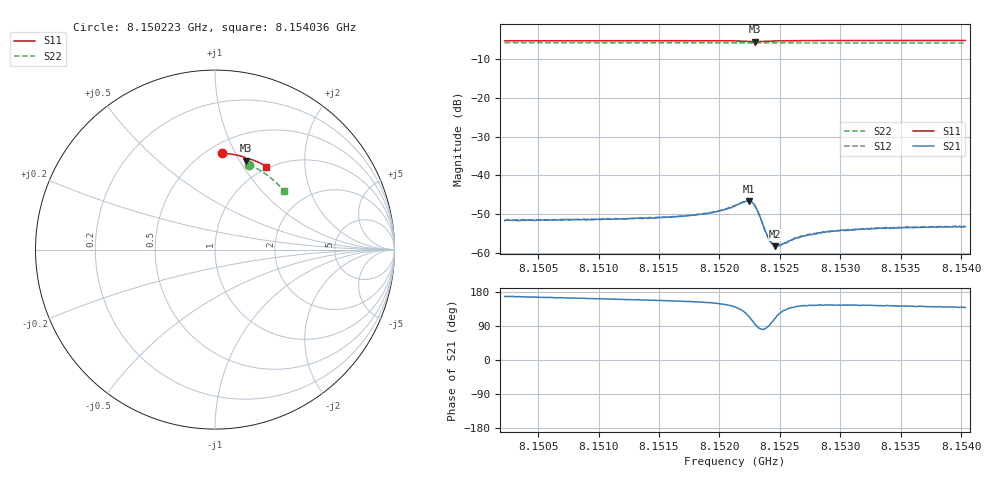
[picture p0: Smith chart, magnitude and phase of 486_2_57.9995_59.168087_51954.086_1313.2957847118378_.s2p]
#  HZ  S  RI  R  50.00
! Rohde & Schwarz Vector Network Analyzer
! Rohde-Schwarz,ZNB20-2Port,1311601062101988,3.16
! Created: UTC 3/21/2024, 1:12:04 AM
! freq[Hz]  re:S11  im:S11  re:S21  im:S21  re:S12  im:S12  re:S22  im:S22
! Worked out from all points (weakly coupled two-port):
!   401 points, 8.150223 GHz to 8.154036 GHz, reference 50 ohm
!   highest |S21| = -46.58 dB at 8.152244 GHz (marker M1); lowest = -58.2 dB at 8.152463 GHz (marker M2)
!   lowest |S11| = -5.6 dB at 8.152292 GHz (marker M3), VSWR 3.21, Z = 39 + j53.3 ohm
!   |S11| at or under -10 dB: nowhere
!   |S22| runs from -6.0 to -5.9 dB; largest |S21 - S12| = 0.00011
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8.1502229e9  0.0387 0.5372  -0.00256 0.000554  -0.00258 0.000587  0.1898 0.4729
8.1508616e9  0.0832 0.533  -0.00258 0.000762  -0.00257 0.000851  0.2269 0.4554
8.1515003e9  0.1274 0.5252  -0.00265 0.00114  -0.00264 0.00115  0.2621 0.4348
8.1516623e9  0.1389 0.5225  -0.00268 0.00124  -0.00268 0.00129  0.2708 0.4292
8.1518816e9  0.1546 0.5178  -0.00284 0.0015  -0.00282 0.00157  0.2824 0.4213
8.151996e9  0.1631 0.5148  -0.00299 0.00179  -0.00299 0.00185  0.2881 0.4171
8.1521295e9  0.1735 0.5088  -0.00312 0.00262  -0.0031 0.00267  0.2952 0.4118
8.1522057e9  0.1779 0.5019  -0.00275 0.00366  -0.0027 0.00375  0.2988 0.4087
8.1522439e9  0.1774 0.4975  -0.00198 0.00425  -0.00195 0.00427  0.3007 0.4071
8.1522725e9  0.175 0.4957  -0.00107 0.00435  -0.00101 0.00438  0.3019 0.4061
8.1522915e9  0.173 0.4958  -0.000396 0.00412  -0.000359 0.00413  0.3026 0.4053
8.1523201e9  0.171 0.4981  0.000245 0.00337  0.000301 0.00342  0.304 0.4044
8.1523869e9  0.1741 0.5043  0.000184 0.00182  0.000193 0.00176  0.3074 0.4022
8.1524059e9  0.1759 0.5052  1.57e-05 0.00155  3.37e-05 0.00155  0.3083 0.4013
8.1524345e9  0.1789 0.506  -0.000217 0.0013  -0.000234 0.00134  0.3098 0.4002
8.1524631e9  0.1816 0.5063  -0.000416 0.00116  -0.000458 0.00117  0.3113 0.3991
8.1524917e9  0.1843 0.5062  -0.000649 0.00108  -0.000632 0.00109  0.3126 0.3982
8.1526347e9  0.1962 0.5041  -0.00121 0.000993  -0.00117 0.00102  0.3198 0.3923
8.1527682e9  0.2058 0.5011  -0.00139 0.00103  -0.00143 0.00106  0.3262 0.3867
8.153016e9  0.2229 0.4945  -0.0016 0.00114  -0.0016 0.00113  0.3378 0.376
8.1534069e9  0.248 0.4832  -0.00168 0.00124  -0.0017 0.0013  0.3553 0.3585
8.1540361e9  0.2866 0.4627  -0.00165 0.00146  -0.00165 0.00147  0.3817 0.3289
